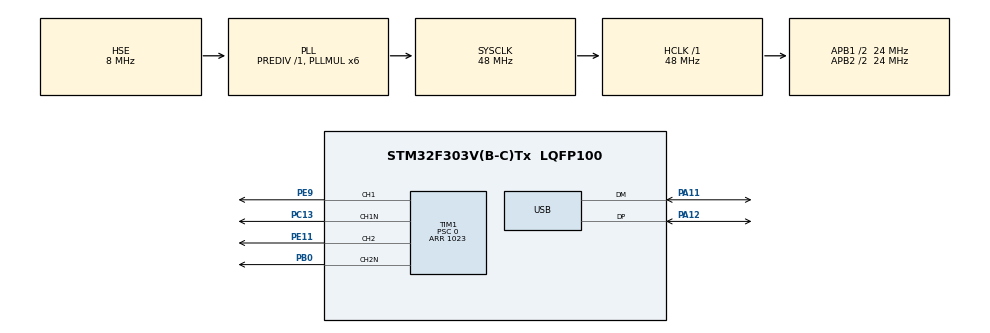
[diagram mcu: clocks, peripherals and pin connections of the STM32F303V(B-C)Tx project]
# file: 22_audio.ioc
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Mcu.Family=STM32F3
Mcu.Name=STM32F303V(B-C)Tx
Mcu.Package=LQFP100
NVIC.PriorityGroup=NVIC_PRIORITYGROUP_4
NVIC.TIM6_DAC_IRQn=true\:0\:0\:false\:false\:true\:true
NVIC.USB_LP_CAN_RX0_IRQn=true\:1\:0\:true\:false\:true\:false
PA11.Mode=Device
PA11.Signal=USB_DM
PA12.Mode=Device
PA12.Signal=USB_DP
PB0.GPIO_Speed=GPIO_SPEED_FREQ_LOW
PB0.Mode=PWM Generation2 CH2 CH2N
PB0.Signal=TIM1_CH2N
PC13.GPIO_Speed=GPIO_SPEED_FREQ_LOW
PC13.Mode=PWM Generation1 CH1 CH1N
PC13.Signal=TIM1_CH1N
PE11.GPIO_Speed=GPIO_SPEED_FREQ_LOW
PE11.Signal=S_TIM1_CH2
PE9.GPIO_Speed=GPIO_SPEED_FREQ_LOW
PE9.Signal=S_TIM1_CH1
PF0-OSC_IN.Mode=HSE-External-Oscillator
PF0-OSC_IN.Signal=RCC_OSC_IN
PF1-OSC_OUT.Mode=HSE-External-Oscillator
PF1-OSC_OUT.Signal=RCC_OSC_OUT
ProjectManager.HeapSize=0x200
ProjectManager.StackSize=0x400
ProjectManager.TargetToolchain=SW4STM32
RCC.AHBFreq_Value=48000000
RCC.APB1CLKDivider=RCC_HCLK_DIV2
RCC.APB1Freq_Value=24000000
RCC.APB1TimFreq_Value=48000000
RCC.APB2CLKDivider=RCC_HCLK_DIV2
RCC.APB2Freq_Value=24000000
RCC.APB2TimFreq_Value=48000000
RCC.CortexFreq_Value=48000000
RCC.HCLKFreq_Value=48000000
RCC.HSE_VALUE=8000000
RCC.HSI_VALUE=8000000
RCC.LSE_VALUE=32768
RCC.PLLMUL=RCC_PLL_MUL6
RCC.SYSCLKFreq_VALUE=48000000
RCC.SYSCLKSourceVirtual=RCC_SYSCLKSOURCE_PLLCLK
RCC.USBFreq_Value=48000000
SH.S_TIM1_CH1.0=TIM1_CH1,PWM Generation1 CH1 CH1N
SH.S_TIM1_CH2.0=TIM1_CH2,PWM Generation2 CH2 CH2N
TIM1.Channel-PWM\ Generation1\ CH1\ CH1N=TIM_CHANNEL_1
TIM1.Channel-PWM\ Generation2\ CH2\ CH2N=TIM_CHANNEL_2
TIM1.DeadTime=2
TIM1.OCMode_PWM-PWM\ Generation2\ CH2\ CH2N=TIM_OCMODE_PWM2
TIM1.OCNIdleState_1=TIM_OCNIDLESTATE_RESET
TIM1.OCNIdleState_2=TIM_OCNIDLESTATE_SET
TIM1.OCNPolarity_1=TIM_OCNPOLARITY_LOW
TIM1.OCNPolarity_2=TIM_OCNPOLARITY_LOW
TIM1.OCPolarity_2=TIM_OCPOLARITY_HIGH
TIM1.Period=1023
TIM1.Prescaler=0
TIM1.Pulse-PWM\ Generation1\ CH1\ CH1N=0
TIM1.Pulse-PWM\ Generation2\ CH2\ CH2N=0
TIM6.Period=999
TIM6.Prescaler=0
USB_DEVICE.CLASS_NAME_FS=AUDIO
USB_DEVICE.USBD_AUDIO_FREQ=48000
USB_DEVICE.VirtualMode=Audio
USB_DEVICE.VirtualModeFS=Audio_FS
VP_TIM1_VS_ClockSourceINT.Mode=Internal
VP_TIM6_VS_ClockSourceINT.Mode=Enable_Timer
VP_USB_DEVICE_VS_USB_DEVICE_AUDIO_FS.Mode=AUDIO_FS
board=22_audio

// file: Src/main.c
/**
  ******************************************************************************
  * @file           : main.c
  * @brief          : Main program body
  ******************************************************************************
  * This notice applies to any and all portions of this file
  * that are not between comment pairs USER CODE BEGIN and
  * USER CODE END. Other portions of this file, whether
  * inserted by the user or by software development tools
  * are owned by their respective copyright owners.
  *
  * Copyright (c) 2018 STMicroelectronics International N.V.
  * All rights reserved.
  *
  * Redistribution and use in source and binary forms, with or without
  * modification, are permitted, provided that the following conditions are met:
  *
  * 1. Redistribution of source code must retain the above copyright notice,
  *    this list of conditions and the following disclaimer.
  * 2. Redistributions in binary form must reproduce the above copyright notice,
  *    this list of conditions and the following disclaimer in the documentation
  *    and/or other materials provided with the distribution.
  * 3. Neither the name of STMicroelectronics nor the names of other
  *    contributors to this software may be used to endorse or promote products
  *    derived from this software without specific written permission.
  * 4. This software, including modifications and/or derivative works of this
  *    software, must execute solely and exclusively on microcontroller or
  *    microprocessor devices manufactured by or for STMicroelectronics.
  * 5. Redistribution and use of this software other than as permitted under
  *    this license is void and will automatically terminate your rights under
  *    this license.
  *
  * THIS SOFTWARE IS PROVIDED BY STMICROELECTRONICS AND CONTRIBUTORS "AS IS"
  * AND ANY EXPRESS, IMPLIED OR STATUTORY WARRANTIES, INCLUDING, BUT NOT
  * LIMITED TO, THE IMPLIED WARRANTIES OF MERCHANTABILITY, FITNESS FOR A
  * PARTICULAR PURPOSE AND NON-INFRINGEMENT OF THIRD PARTY INTELLECTUAL PROPERTY
  * RIGHTS ARE DISCLAIMED TO THE FULLEST EXTENT PERMITTED BY LAW. IN NO EVENT
  * SHALL STMICROELECTRONICS OR CONTRIBUTORS BE LIABLE FOR ANY DIRECT, INDIRECT,
  * INCIDENTAL, SPECIAL, EXEMPLARY, OR CONSEQUENTIAL DAMAGES (INCLUDING, BUT NOT
  * LIMITED TO, PROCUREMENT OF SUBSTITUTE GOODS OR SERVICES; LOSS OF USE, DATA,
  * OR PROFITS; OR BUSINESS INTERRUPTION) HOWEVER CAUSED AND ON ANY THEORY OF
  * LIABILITY, WHETHER IN CONTRACT, STRICT LIABILITY, OR TORT (INCLUDING
  * NEGLIGENCE OR OTHERWISE) ARISING IN ANY WAY OUT OF THE USE OF THIS SOFTWARE,
  * EVEN IF ADVISED OF THE POSSIBILITY OF SUCH DAMAGE.
  *
  ******************************************************************************
  */
#include "main.h"
#include "stm32f3xx_hal.h"
#include "usb_device.h"
#include "usbd_audio_if.h"

TIM_HandleTypeDef htim1;
TIM_HandleTypeDef htim6;

/* USER CODE BEGIN PV */
/* Private variables ---------------------------------------------------------*/
#define AUDIO_OK   ((uint8_t)0)

volatile uint16_t Duty = 0;
volatile uint16_t *BSP_audio_buffer;
volatile uint32_t BSP_audio_size;
volatile uint32_t BSP_audio_counter = 0;
/* USER CODE END PV */

void SystemClock_Config(void);
static void MX_GPIO_Init(void);
static void MX_TIM1_Init(void);
static void MX_TIM6_Init(void);
void HAL_TIM_MspPostInit(TIM_HandleTypeDef *htim);

/* USER CODE BEGIN PFP */
/* Private function prototypes -----------------------------------------------*/
void BSP_audio_init();
void BSP_audio_deinit();
uint8_t BSP_audio_start(uint16_t* pBuffer, uint32_t Size);
uint8_t BSP_audio_play(uint16_t* pBuffer, uint32_t Size);

//347 uint8_t BSP_AUDIO_OUT_Play(uint16_t* pBuffer, uint32_t Size)
//348 {
//349   /* Call the audio Codec Play function */
//350   if(audio_drv->Play(AUDIO_I2C_ADDRESS, (uint16_t *)pBuffer, Size) != 0)
//351   {
//352     return AUDIO_ERROR;
//353   }
//354   else
//355   {
//356     /* Update the Media layer and enable it for play */
//357     HAL_SAI_Transmit_DMA(&haudio_out_sai, (uint8_t*) pBuffer, DMA_MAX(Size / AUDIODATA_SIZE));
//358
//359     return AUDIO_OK;
//360   }
//361 }

void BSP_audio_init()
{
//	HAL_TIM_PWM_Start(&htim1, TIM_CHANNEL_1);
//	HAL_TIMEx_PWMN_Start(&htim1, TIM_CHANNEL_1); // turn on complementary channel
//	HAL_TIM_PWM_Start(&htim1, TIM_CHANNEL_2);
//	HAL_TIMEx_PWMN_Start(&htim1, TIM_CHANNEL_2); // turn on complementary channel
//	HAL_TIM_Base_Start_IT(&htim6);
}

void BSP_audio_deinit()
{
//	HAL_TIM_PWM_Stop(&htim1, TIM_CHANNEL_1);
//	HAL_TIMEx_PWMN_Stop(&htim1, TIM_CHANNEL_1); // turn on complementary channel
//	HAL_TIM_PWM_Stop(&htim1, TIM_CHANNEL_2);
//	HAL_TIMEx_PWMN_Stop(&htim1, TIM_CHANNEL_2); // turn on complementary channel
//	HAL_TIM_Base_Stop_IT(&htim6);
}

uint8_t BSP_audio_start(uint16_t* pBuffer, uint32_t Size)
{
	BSP_audio_buffer=pBuffer;
	BSP_audio_size=Size;
	BSP_audio_counter = 0;
	return AUDIO_OK;
}

uint8_t BSP_audio_play(uint16_t* pBuffer, uint32_t Size)
{
	BSP_audio_buffer=pBuffer;
	BSP_audio_size=Size;
	BSP_audio_counter = 0;
	return AUDIO_OK;
}

//347 uint8_t BSP_AUDIO_OUT_Play(uint16_t* pBuffer, uint32_t Size)
//348 {
//349   /* Call the audio Codec Play function */
//350   if(audio_drv->Play(AUDIO_I2C_ADDRESS, (uint16_t *)pBuffer, Size) != 0)
//351   {
//352     return AUDIO_ERROR;
//353   }
//354   else
//355   {
//356     /* Update the Media layer and enable it for play */
//357     HAL_SAI_Transmit_DMA(&haudio_out_sai, (uint8_t*) pBuffer, DMA_MAX(Size / AUDIODATA_SIZE));
//358
//359     return AUDIO_OK;
//360   }
//361 }

void HAL_TIM_PeriodElapsedCallback(TIM_HandleTypeDef *htim)
{
	if(htim->Instance == TIM6)
	{
		if((BSP_audio_counter+1)<BSP_audio_size)
		{
			//TIM1->CCR1 = BSP_audio_buffer[BSP_audio_counter];
			//TIM1->CCR2 = BSP_audio_buffer[BSP_audio_counter+1];
			//Duty = BSP_audio_buffer[BSP_audio_counter]>>4; // Conversion 16-bit to 12-bit
			Duty = BSP_audio_buffer[BSP_audio_counter];
			BSP_audio_counter+=2;
			if(BSP_audio_counter == BSP_audio_size/2) USBD_AUDIO_Sync(&hUsbDeviceFS, AUDIO_OFFSET_HALF);
			if(BSP_audio_counter >= BSP_audio_size) USBD_AUDIO_Sync(&hUsbDeviceFS, AUDIO_OFFSET_FULL);
	}
}
/* USER CODE END PFP */

int main(void)
{

  /* MCU Configuration----------------------------------------------------------*/

  /* Reset of all peripherals, Initializes the Flash interface and the Systick. */
  HAL_Init();

  /* Configure the system clock */
  SystemClock_Config();

  /* Initialize all configured peripherals */
  MX_GPIO_Init();
  MX_TIM1_Init();
  MX_USB_DEVICE_Init();
  MX_TIM6_Init();

  /* Infinite loop */
  while (1)
  {

  }

}

void SystemClock_Config(void)
{

  RCC_OscInitTypeDef RCC_OscInitStruct;
  RCC_ClkInitTypeDef RCC_ClkInitStruct;
  RCC_PeriphCLKInitTypeDef PeriphClkInit;

    /**Initializes the CPU, AHB and APB busses clocks
    */
  RCC_OscInitStruct.OscillatorType = RCC_OSCILLATORTYPE_HSE;
  RCC_OscInitStruct.HSEState = RCC_HSE_ON;
  RCC_OscInitStruct.HSEPredivValue = RCC_HSE_PREDIV_DIV1;
  RCC_OscInitStruct.HSIState = RCC_HSI_ON;
  RCC_OscInitStruct.PLL.PLLState = RCC_PLL_ON;
  RCC_OscInitStruct.PLL.PLLSource = RCC_PLLSOURCE_HSE;
  RCC_OscInitStruct.PLL.PLLMUL = RCC_PLL_MUL6;
  if (HAL_RCC_OscConfig(&RCC_OscInitStruct) != HAL_OK)
  {
    _Error_Handler(__FILE__, __LINE__);
  }

    /**Initializes the CPU, AHB and APB busses clocks
    */
  RCC_ClkInitStruct.ClockType = RCC_CLOCKTYPE_HCLK|RCC_CLOCKTYPE_SYSCLK
                              |RCC_CLOCKTYPE_PCLK1|RCC_CLOCKTYPE_PCLK2;
  RCC_ClkInitStruct.SYSCLKSource = RCC_SYSCLKSOURCE_PLLCLK;
  RCC_ClkInitStruct.AHBCLKDivider = RCC_SYSCLK_DIV1;
  RCC_ClkInitStruct.APB1CLKDivider = RCC_HCLK_DIV2;
  RCC_ClkInitStruct.APB2CLKDivider = RCC_HCLK_DIV2;

  if (HAL_RCC_ClockConfig(&RCC_ClkInitStruct, FLASH_LATENCY_1) != HAL_OK)
  {
    _Error_Handler(__FILE__, __LINE__);
  }

  PeriphClkInit.PeriphClockSelection = RCC_PERIPHCLK_USB|RCC_PERIPHCLK_TIM1;
  PeriphClkInit.USBClockSelection = RCC_USBCLKSOURCE_PLL;
  PeriphClkInit.Tim1ClockSelection = RCC_TIM1CLK_HCLK;
  if (HAL_RCCEx_PeriphCLKConfig(&PeriphClkInit) != HAL_OK)
  {
    _Error_Handler(__FILE__, __LINE__);
  }

    /**Configure the Systick interrupt time
    */
  HAL_SYSTICK_Config(HAL_RCC_GetHCLKFreq()/1000);

    /**Configure the Systick
    */
  HAL_SYSTICK_CLKSourceConfig(SYSTICK_CLKSOURCE_HCLK);

  /* SysTick_IRQn interrupt configuration */
  HAL_NVIC_SetPriority(SysTick_IRQn, 0, 0);
}

/* TIM1 init function */
static void MX_TIM1_Init(void)
{

  TIM_ClockConfigTypeDef sClockSourceConfig;
  TIM_MasterConfigTypeDef sMasterConfig;
  TIM_OC_InitTypeDef sConfigOC;
  TIM_BreakDeadTimeConfigTypeDef sBreakDeadTimeConfig;

  htim1.Instance = TIM1;
  htim1.Init.Prescaler = 0;
  htim1.Init.CounterMode = TIM_COUNTERMODE_UP;
  htim1.Init.Period = 1023;
  htim1.Init.ClockDivision = TIM_CLOCKDIVISION_DIV1;
  htim1.Init.RepetitionCounter = 0;
  htim1.Init.AutoReloadPreload = TIM_AUTORELOAD_PRELOAD_DISABLE;
  if (HAL_TIM_Base_Init(&htim1) != HAL_OK)
  {
    _Error_Handler(__FILE__, __LINE__);
  }

  sClockSourceConfig.ClockSource = TIM_CLOCKSOURCE_INTERNAL;
  if (HAL_TIM_ConfigClockSource(&htim1, &sClockSourceConfig) != HAL_OK)
  {
    _Error_Handler(__FILE__, __LINE__);
  }

  if (HAL_TIM_PWM_Init(&htim1) != HAL_OK)
  {
    _Error_Handler(__FILE__, __LINE__);
  }

  sMasterConfig.MasterOutputTrigger = TIM_TRGO_RESET;
  sMasterConfig.MasterOutputTrigger2 = TIM_TRGO2_RESET;
  sMasterConfig.MasterSlaveMode = TIM_MASTERSLAVEMODE_DISABLE;
  if (HAL_TIMEx_MasterConfigSynchronization(&htim1, &sMasterConfig) != HAL_OK)
  {
    _Error_Handler(__FILE__, __LINE__);
  }

  sConfigOC.OCMode = TIM_OCMODE_PWM1;
  sConfigOC.Pulse = 0;
  sConfigOC.OCPolarity = TIM_OCPOLARITY_HIGH;
  sConfigOC.OCNPolarity = TIM_OCNPOLARITY_LOW;
  sConfigOC.OCFastMode = TIM_OCFAST_DISABLE;
  sConfigOC.OCIdleState = TIM_OCIDLESTATE_RESET;
  sConfigOC.OCNIdleState = TIM_OCNIDLESTATE_RESET;
  if (HAL_TIM_PWM_ConfigChannel(&htim1, &sConfigOC, TIM_CHANNEL_1) != HAL_OK)
  {
    _Error_Handler(__FILE__, __LINE__);
  }

  sConfigOC.OCMode = TIM_OCMODE_PWM2;
  sConfigOC.OCNIdleState = TIM_OCNIDLESTATE_SET;
  if (HAL_TIM_PWM_ConfigChannel(&htim1, &sConfigOC, TIM_CHANNEL_2) != HAL_OK)
  {
    _Error_Handler(__FILE__, __LINE__);
  }

  sBreakDeadTimeConfig.OffStateRunMode = TIM_OSSR_DISABLE;
  sBreakDeadTimeConfig.OffStateIDLEMode = TIM_OSSI_DISABLE;
  sBreakDeadTimeConfig.LockLevel = TIM_LOCKLEVEL_OFF;
  sBreakDeadTimeConfig.DeadTime = 2;
  sBreakDeadTimeConfig.BreakState = TIM_BREAK_DISABLE;
  sBreakDeadTimeConfig.BreakPolarity = TIM_BREAKPOLARITY_HIGH;
  sBreakDeadTimeConfig.BreakFilter = 0;
  sBreakDeadTimeConfig.Break2State = TIM_BREAK2_DISABLE;
  sBreakDeadTimeConfig.Break2Polarity = TIM_BREAK2POLARITY_HIGH;
  sBreakDeadTimeConfig.Break2Filter = 0;
  sBreakDeadTimeConfig.AutomaticOutput = TIM_AUTOMATICOUTPUT_DISABLE;
  if (HAL_TIMEx_ConfigBreakDeadTime(&htim1, &sBreakDeadTimeConfig) != HAL_OK)
  {
    _Error_Handler(__FILE__, __LINE__);
  }

  HAL_TIM_MspPostInit(&htim1);

}

/* TIM6 init function */
static void MX_TIM6_Init(void)
{

  TIM_MasterConfigTypeDef sMasterConfig;

  htim6.Instance = TIM6;
  htim6.Init.Prescaler = 0;
  htim6.Init.CounterMode = TIM_COUNTERMODE_UP;
  htim6.Init.Period = 999;
  htim6.Init.AutoReloadPreload = TIM_AUTORELOAD_PRELOAD_DISABLE;
  if (HAL_TIM_Base_Init(&htim6) != HAL_OK)
  {
    _Error_Handler(__FILE__, __LINE__);
  }

  sMasterConfig.MasterOutputTrigger = TIM_TRGO_RESET;
  sMasterConfig.MasterSlaveMode = TIM_MASTERSLAVEMODE_DISABLE;
  if (HAL_TIMEx_MasterConfigSynchronization(&htim6, &sMasterConfig) != HAL_OK)
  {
    _Error_Handler(__FILE__, __LINE__);
  }

}

/** Configure pins as
        * Analog
        * Input
        * Output
        * EVENT_OUT
        * EXTI
*/
static void MX_GPIO_Init(void)
{

  /* GPIO Ports Clock Enable */
  __HAL_RCC_GPIOC_CLK_ENABLE();
  __HAL_RCC_GPIOF_CLK_ENABLE();
  __HAL_RCC_GPIOB_CLK_ENABLE();
  __HAL_RCC_GPIOE_CLK_ENABLE();
  __HAL_RCC_GPIOA_CLK_ENABLE();

}

void _Error_Handler(char *file, int line)
{
  while(1)
  {
  }
}

/************************ (C) COPYRIGHT STMicroelectronics *****END OF FILE****/
